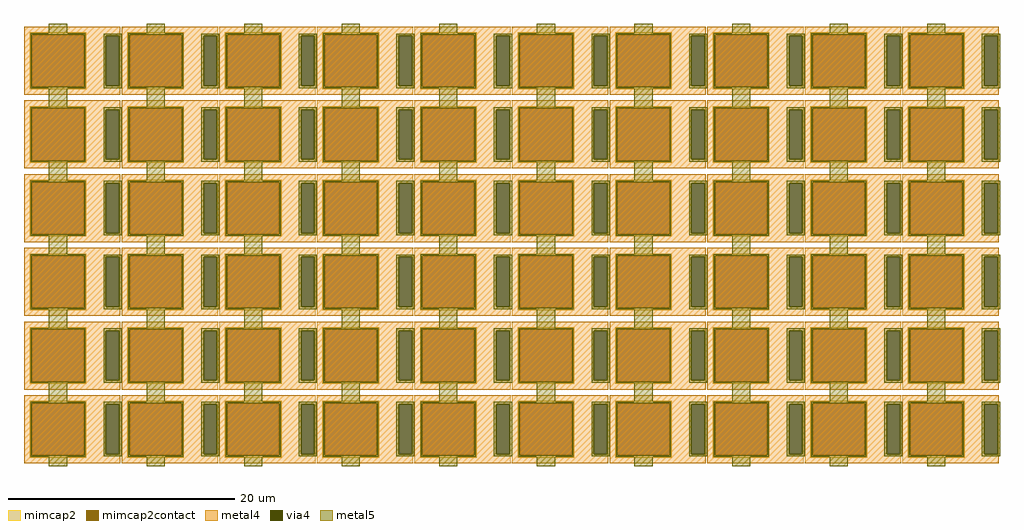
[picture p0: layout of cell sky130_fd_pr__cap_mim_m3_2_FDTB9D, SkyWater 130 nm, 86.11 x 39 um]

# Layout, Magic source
magic
tech sky130A
magscale 1 2
<< metal4 >>
rect -8600 3689 -6898 3850
rect -8600 2811 -7154 3689
rect -6918 2811 -6898 3689
rect -8600 2650 -6898 2811
rect -6878 3689 -5176 3850
rect -6878 2811 -5432 3689
rect -5196 2811 -5176 3689
rect -6878 2650 -5176 2811
rect -5156 3689 -3454 3850
rect -5156 2811 -3710 3689
rect -3474 2811 -3454 3689
rect -5156 2650 -3454 2811
rect -3434 3689 -1732 3850
rect -3434 2811 -1988 3689
rect -1752 2811 -1732 3689
rect -3434 2650 -1732 2811
rect -1712 3689 -10 3850
rect -1712 2811 -266 3689
rect -30 2811 -10 3689
rect -1712 2650 -10 2811
rect 10 3689 1712 3850
rect 10 2811 1456 3689
rect 1692 2811 1712 3689
rect 10 2650 1712 2811
rect 1732 3689 3434 3850
rect 1732 2811 3178 3689
rect 3414 2811 3434 3689
rect 1732 2650 3434 2811
rect 3454 3689 5156 3850
rect 3454 2811 4900 3689
rect 5136 2811 5156 3689
rect 3454 2650 5156 2811
rect 5176 3689 6878 3850
rect 5176 2811 6622 3689
rect 6858 2811 6878 3689
rect 5176 2650 6878 2811
rect 6898 3689 8600 3850
rect 6898 2811 8344 3689
rect 8580 2811 8600 3689
rect 6898 2650 8600 2811
rect -8600 2389 -6898 2550
rect -8600 1511 -7154 2389
rect -6918 1511 -6898 2389
rect -8600 1350 -6898 1511
rect -6878 2389 -5176 2550
rect -6878 1511 -5432 2389
rect -5196 1511 -5176 2389
rect -6878 1350 -5176 1511
rect -5156 2389 -3454 2550
rect -5156 1511 -3710 2389
rect -3474 1511 -3454 2389
rect -5156 1350 -3454 1511
rect -3434 2389 -1732 2550
rect -3434 1511 -1988 2389
rect -1752 1511 -1732 2389
rect -3434 1350 -1732 1511
rect -1712 2389 -10 2550
rect -1712 1511 -266 2389
rect -30 1511 -10 2389
rect -1712 1350 -10 1511
rect 10 2389 1712 2550
rect 10 1511 1456 2389
rect 1692 1511 1712 2389
rect 10 1350 1712 1511
rect 1732 2389 3434 2550
rect 1732 1511 3178 2389
rect 3414 1511 3434 2389
rect 1732 1350 3434 1511
rect 3454 2389 5156 2550
rect 3454 1511 4900 2389
rect 5136 1511 5156 2389
rect 3454 1350 5156 1511
rect 5176 2389 6878 2550
rect 5176 1511 6622 2389
rect 6858 1511 6878 2389
rect 5176 1350 6878 1511
rect 6898 2389 8600 2550
rect 6898 1511 8344 2389
rect 8580 1511 8600 2389
rect 6898 1350 8600 1511
rect -8600 1089 -6898 1250
rect -8600 211 -7154 1089
rect -6918 211 -6898 1089
rect -8600 50 -6898 211
rect -6878 1089 -5176 1250
rect -6878 211 -5432 1089
rect -5196 211 -5176 1089
rect -6878 50 -5176 211
rect -5156 1089 -3454 1250
rect -5156 211 -3710 1089
rect -3474 211 -3454 1089
rect -5156 50 -3454 211
rect -3434 1089 -1732 1250
rect -3434 211 -1988 1089
rect -1752 211 -1732 1089
rect -3434 50 -1732 211
rect -1712 1089 -10 1250
rect -1712 211 -266 1089
rect -30 211 -10 1089
rect -1712 50 -10 211
rect 10 1089 1712 1250
rect 10 211 1456 1089
rect 1692 211 1712 1089
rect 10 50 1712 211
rect 1732 1089 3434 1250
rect 1732 211 3178 1089
rect 3414 211 3434 1089
rect 1732 50 3434 211
rect 3454 1089 5156 1250
rect 3454 211 4900 1089
rect 5136 211 5156 1089
rect 3454 50 5156 211
rect 5176 1089 6878 1250
rect 5176 211 6622 1089
rect 6858 211 6878 1089
rect 5176 50 6878 211
rect 6898 1089 8600 1250
rect 6898 211 8344 1089
rect 8580 211 8600 1089
rect 6898 50 8600 211
rect -8600 -211 -6898 -50
rect -8600 -1089 -7154 -211
rect -6918 -1089 -6898 -211
rect -8600 -1250 -6898 -1089
rect -6878 -211 -5176 -50
rect -6878 -1089 -5432 -211
rect -5196 -1089 -5176 -211
rect -6878 -1250 -5176 -1089
rect -5156 -211 -3454 -50
rect -5156 -1089 -3710 -211
rect -3474 -1089 -3454 -211
rect -5156 -1250 -3454 -1089
rect -3434 -211 -1732 -50
rect -3434 -1089 -1988 -211
rect -1752 -1089 -1732 -211
rect -3434 -1250 -1732 -1089
rect -1712 -211 -10 -50
rect -1712 -1089 -266 -211
rect -30 -1089 -10 -211
rect -1712 -1250 -10 -1089
rect 10 -211 1712 -50
rect 10 -1089 1456 -211
rect 1692 -1089 1712 -211
rect 10 -1250 1712 -1089
rect 1732 -211 3434 -50
rect 1732 -1089 3178 -211
rect 3414 -1089 3434 -211
rect 1732 -1250 3434 -1089
rect 3454 -211 5156 -50
rect 3454 -1089 4900 -211
rect 5136 -1089 5156 -211
rect 3454 -1250 5156 -1089
rect 5176 -211 6878 -50
rect 5176 -1089 6622 -211
rect 6858 -1089 6878 -211
rect 5176 -1250 6878 -1089
rect 6898 -211 8600 -50
rect 6898 -1089 8344 -211
rect 8580 -1089 8600 -211
rect 6898 -1250 8600 -1089
rect -8600 -1511 -6898 -1350
rect -8600 -2389 -7154 -1511
rect -6918 -2389 -6898 -1511
rect -8600 -2550 -6898 -2389
rect -6878 -1511 -5176 -1350
rect -6878 -2389 -5432 -1511
rect -5196 -2389 -5176 -1511
rect -6878 -2550 -5176 -2389
rect -5156 -1511 -3454 -1350
rect -5156 -2389 -3710 -1511
rect -3474 -2389 -3454 -1511
rect -5156 -2550 -3454 -2389
rect -3434 -1511 -1732 -1350
rect -3434 -2389 -1988 -1511
rect -1752 -2389 -1732 -1511
rect -3434 -2550 -1732 -2389
rect -1712 -1511 -10 -1350
rect -1712 -2389 -266 -1511
rect -30 -2389 -10 -1511
rect -1712 -2550 -10 -2389
rect 10 -1511 1712 -1350
rect 10 -2389 1456 -1511
rect 1692 -2389 1712 -1511
rect 10 -2550 1712 -2389
rect 1732 -1511 3434 -1350
rect 1732 -2389 3178 -1511
rect 3414 -2389 3434 -1511
rect 1732 -2550 3434 -2389
rect 3454 -1511 5156 -1350
rect 3454 -2389 4900 -1511
rect 5136 -2389 5156 -1511
rect 3454 -2550 5156 -2389
rect 5176 -1511 6878 -1350
rect 5176 -2389 6622 -1511
rect 6858 -2389 6878 -1511
rect 5176 -2550 6878 -2389
rect 6898 -1511 8600 -1350
rect 6898 -2389 8344 -1511
rect 8580 -2389 8600 -1511
rect 6898 -2550 8600 -2389
rect -8600 -2811 -6898 -2650
rect -8600 -3689 -7154 -2811
rect -6918 -3689 -6898 -2811
rect -8600 -3850 -6898 -3689
rect -6878 -2811 -5176 -2650
rect -6878 -3689 -5432 -2811
rect -5196 -3689 -5176 -2811
rect -6878 -3850 -5176 -3689
rect -5156 -2811 -3454 -2650
rect -5156 -3689 -3710 -2811
rect -3474 -3689 -3454 -2811
rect -5156 -3850 -3454 -3689
rect -3434 -2811 -1732 -2650
rect -3434 -3689 -1988 -2811
rect -1752 -3689 -1732 -2811
rect -3434 -3850 -1732 -3689
rect -1712 -2811 -10 -2650
rect -1712 -3689 -266 -2811
rect -30 -3689 -10 -2811
rect -1712 -3850 -10 -3689
rect 10 -2811 1712 -2650
rect 10 -3689 1456 -2811
rect 1692 -3689 1712 -2811
rect 10 -3850 1712 -3689
rect 1732 -2811 3434 -2650
rect 1732 -3689 3178 -2811
rect 3414 -3689 3434 -2811
rect 1732 -3850 3434 -3689
rect 3454 -2811 5156 -2650
rect 3454 -3689 4900 -2811
rect 5136 -3689 5156 -2811
rect 3454 -3850 5156 -3689
rect 5176 -2811 6878 -2650
rect 5176 -3689 6622 -2811
rect 6858 -3689 6878 -2811
rect 5176 -3850 6878 -3689
rect 6898 -2811 8600 -2650
rect 6898 -3689 8344 -2811
rect 8580 -3689 8600 -2811
rect 6898 -3850 8600 -3689
<< via4 >>
rect -7154 2811 -6918 3689
rect -5432 2811 -5196 3689
rect -3710 2811 -3474 3689
rect -1988 2811 -1752 3689
rect -266 2811 -30 3689
rect 1456 2811 1692 3689
rect 3178 2811 3414 3689
rect 4900 2811 5136 3689
rect 6622 2811 6858 3689
rect 8344 2811 8580 3689
rect -7154 1511 -6918 2389
rect -5432 1511 -5196 2389
rect -3710 1511 -3474 2389
rect -1988 1511 -1752 2389
rect -266 1511 -30 2389
rect 1456 1511 1692 2389
rect 3178 1511 3414 2389
rect 4900 1511 5136 2389
rect 6622 1511 6858 2389
rect 8344 1511 8580 2389
rect -7154 211 -6918 1089
rect -5432 211 -5196 1089
rect -3710 211 -3474 1089
rect -1988 211 -1752 1089
rect -266 211 -30 1089
rect 1456 211 1692 1089
rect 3178 211 3414 1089
rect 4900 211 5136 1089
rect 6622 211 6858 1089
rect 8344 211 8580 1089
rect -7154 -1089 -6918 -211
rect -5432 -1089 -5196 -211
rect -3710 -1089 -3474 -211
rect -1988 -1089 -1752 -211
rect -266 -1089 -30 -211
rect 1456 -1089 1692 -211
rect 3178 -1089 3414 -211
rect 4900 -1089 5136 -211
rect 6622 -1089 6858 -211
rect 8344 -1089 8580 -211
rect -7154 -2389 -6918 -1511
rect -5432 -2389 -5196 -1511
rect -3710 -2389 -3474 -1511
rect -1988 -2389 -1752 -1511
rect -266 -2389 -30 -1511
rect 1456 -2389 1692 -1511
rect 3178 -2389 3414 -1511
rect 4900 -2389 5136 -1511
rect 6622 -2389 6858 -1511
rect 8344 -2389 8580 -1511
rect -7154 -3689 -6918 -2811
rect -5432 -3689 -5196 -2811
rect -3710 -3689 -3474 -2811
rect -1988 -3689 -1752 -2811
rect -266 -3689 -30 -2811
rect 1456 -3689 1692 -2811
rect 3178 -3689 3414 -2811
rect 4900 -3689 5136 -2811
rect 6622 -3689 6858 -2811
rect 8344 -3689 8580 -2811
<< mimcap2 >>
rect -8500 3710 -7500 3750
rect -8500 2790 -8460 3710
rect -7540 2790 -7500 3710
rect -8500 2750 -7500 2790
rect -6778 3710 -5778 3750
rect -6778 2790 -6738 3710
rect -5818 2790 -5778 3710
rect -6778 2750 -5778 2790
rect -5056 3710 -4056 3750
rect -5056 2790 -5016 3710
rect -4096 2790 -4056 3710
rect -5056 2750 -4056 2790
rect -3334 3710 -2334 3750
rect -3334 2790 -3294 3710
rect -2374 2790 -2334 3710
rect -3334 2750 -2334 2790
rect -1612 3710 -612 3750
rect -1612 2790 -1572 3710
rect -652 2790 -612 3710
rect -1612 2750 -612 2790
rect 110 3710 1110 3750
rect 110 2790 150 3710
rect 1070 2790 1110 3710
rect 110 2750 1110 2790
rect 1832 3710 2832 3750
rect 1832 2790 1872 3710
rect 2792 2790 2832 3710
rect 1832 2750 2832 2790
rect 3554 3710 4554 3750
rect 3554 2790 3594 3710
rect 4514 2790 4554 3710
rect 3554 2750 4554 2790
rect 5276 3710 6276 3750
rect 5276 2790 5316 3710
rect 6236 2790 6276 3710
rect 5276 2750 6276 2790
rect 6998 3710 7998 3750
rect 6998 2790 7038 3710
rect 7958 2790 7998 3710
rect 6998 2750 7998 2790
rect -8500 2410 -7500 2450
rect -8500 1490 -8460 2410
rect -7540 1490 -7500 2410
rect -8500 1450 -7500 1490
rect -6778 2410 -5778 2450
rect -6778 1490 -6738 2410
rect -5818 1490 -5778 2410
rect -6778 1450 -5778 1490
rect -5056 2410 -4056 2450
rect -5056 1490 -5016 2410
rect -4096 1490 -4056 2410
rect -5056 1450 -4056 1490
rect -3334 2410 -2334 2450
rect -3334 1490 -3294 2410
rect -2374 1490 -2334 2410
rect -3334 1450 -2334 1490
rect -1612 2410 -612 2450
rect -1612 1490 -1572 2410
rect -652 1490 -612 2410
rect -1612 1450 -612 1490
rect 110 2410 1110 2450
rect 110 1490 150 2410
rect 1070 1490 1110 2410
rect 110 1450 1110 1490
rect 1832 2410 2832 2450
rect 1832 1490 1872 2410
rect 2792 1490 2832 2410
rect 1832 1450 2832 1490
rect 3554 2410 4554 2450
rect 3554 1490 3594 2410
rect 4514 1490 4554 2410
rect 3554 1450 4554 1490
rect 5276 2410 6276 2450
rect 5276 1490 5316 2410
rect 6236 1490 6276 2410
rect 5276 1450 6276 1490
rect 6998 2410 7998 2450
rect 6998 1490 7038 2410
rect 7958 1490 7998 2410
rect 6998 1450 7998 1490
rect -8500 1110 -7500 1150
rect -8500 190 -8460 1110
rect -7540 190 -7500 1110
rect -8500 150 -7500 190
rect -6778 1110 -5778 1150
rect -6778 190 -6738 1110
rect -5818 190 -5778 1110
rect -6778 150 -5778 190
rect -5056 1110 -4056 1150
rect -5056 190 -5016 1110
rect -4096 190 -4056 1110
rect -5056 150 -4056 190
rect -3334 1110 -2334 1150
rect -3334 190 -3294 1110
rect -2374 190 -2334 1110
rect -3334 150 -2334 190
rect -1612 1110 -612 1150
rect -1612 190 -1572 1110
rect -652 190 -612 1110
rect -1612 150 -612 190
rect 110 1110 1110 1150
rect 110 190 150 1110
rect 1070 190 1110 1110
rect 110 150 1110 190
rect 1832 1110 2832 1150
rect 1832 190 1872 1110
rect 2792 190 2832 1110
rect 1832 150 2832 190
rect 3554 1110 4554 1150
rect 3554 190 3594 1110
rect 4514 190 4554 1110
rect 3554 150 4554 190
rect 5276 1110 6276 1150
rect 5276 190 5316 1110
rect 6236 190 6276 1110
rect 5276 150 6276 190
rect 6998 1110 7998 1150
rect 6998 190 7038 1110
rect 7958 190 7998 1110
rect 6998 150 7998 190
rect -8500 -190 -7500 -150
rect -8500 -1110 -8460 -190
rect -7540 -1110 -7500 -190
rect -8500 -1150 -7500 -1110
rect -6778 -190 -5778 -150
rect -6778 -1110 -6738 -190
rect -5818 -1110 -5778 -190
rect -6778 -1150 -5778 -1110
rect -5056 -190 -4056 -150
rect -5056 -1110 -5016 -190
rect -4096 -1110 -4056 -190
rect -5056 -1150 -4056 -1110
rect -3334 -190 -2334 -150
rect -3334 -1110 -3294 -190
rect -2374 -1110 -2334 -190
rect -3334 -1150 -2334 -1110
rect -1612 -190 -612 -150
rect -1612 -1110 -1572 -190
rect -652 -1110 -612 -190
rect -1612 -1150 -612 -1110
rect 110 -190 1110 -150
rect 110 -1110 150 -190
rect 1070 -1110 1110 -190
rect 110 -1150 1110 -1110
rect 1832 -190 2832 -150
rect 1832 -1110 1872 -190
rect 2792 -1110 2832 -190
rect 1832 -1150 2832 -1110
rect 3554 -190 4554 -150
rect 3554 -1110 3594 -190
rect 4514 -1110 4554 -190
rect 3554 -1150 4554 -1110
rect 5276 -190 6276 -150
rect 5276 -1110 5316 -190
rect 6236 -1110 6276 -190
rect 5276 -1150 6276 -1110
rect 6998 -190 7998 -150
rect 6998 -1110 7038 -190
rect 7958 -1110 7998 -190
rect 6998 -1150 7998 -1110
rect -8500 -1490 -7500 -1450
rect -8500 -2410 -8460 -1490
rect -7540 -2410 -7500 -1490
rect -8500 -2450 -7500 -2410
rect -6778 -1490 -5778 -1450
rect -6778 -2410 -6738 -1490
rect -5818 -2410 -5778 -1490
rect -6778 -2450 -5778 -2410
rect -5056 -1490 -4056 -1450
rect -5056 -2410 -5016 -1490
rect -4096 -2410 -4056 -1490
rect -5056 -2450 -4056 -2410
rect -3334 -1490 -2334 -1450
rect -3334 -2410 -3294 -1490
rect -2374 -2410 -2334 -1490
rect -3334 -2450 -2334 -2410
rect -1612 -1490 -612 -1450
rect -1612 -2410 -1572 -1490
rect -652 -2410 -612 -1490
rect -1612 -2450 -612 -2410
rect 110 -1490 1110 -1450
rect 110 -2410 150 -1490
rect 1070 -2410 1110 -1490
rect 110 -2450 1110 -2410
rect 1832 -1490 2832 -1450
rect 1832 -2410 1872 -1490
rect 2792 -2410 2832 -1490
rect 1832 -2450 2832 -2410
rect 3554 -1490 4554 -1450
rect 3554 -2410 3594 -1490
rect 4514 -2410 4554 -1490
rect 3554 -2450 4554 -2410
rect 5276 -1490 6276 -1450
rect 5276 -2410 5316 -1490
rect 6236 -2410 6276 -1490
rect 5276 -2450 6276 -2410
rect 6998 -1490 7998 -1450
rect 6998 -2410 7038 -1490
rect 7958 -2410 7998 -1490
rect 6998 -2450 7998 -2410
rect -8500 -2790 -7500 -2750
rect -8500 -3710 -8460 -2790
rect -7540 -3710 -7500 -2790
rect -8500 -3750 -7500 -3710
rect -6778 -2790 -5778 -2750
rect -6778 -3710 -6738 -2790
rect -5818 -3710 -5778 -2790
rect -6778 -3750 -5778 -3710
rect -5056 -2790 -4056 -2750
rect -5056 -3710 -5016 -2790
rect -4096 -3710 -4056 -2790
rect -5056 -3750 -4056 -3710
rect -3334 -2790 -2334 -2750
rect -3334 -3710 -3294 -2790
rect -2374 -3710 -2334 -2790
rect -3334 -3750 -2334 -3710
rect -1612 -2790 -612 -2750
rect -1612 -3710 -1572 -2790
rect -652 -3710 -612 -2790
rect -1612 -3750 -612 -3710
rect 110 -2790 1110 -2750
rect 110 -3710 150 -2790
rect 1070 -3710 1110 -2790
rect 110 -3750 1110 -3710
rect 1832 -2790 2832 -2750
rect 1832 -3710 1872 -2790
rect 2792 -3710 2832 -2790
rect 1832 -3750 2832 -3710
rect 3554 -2790 4554 -2750
rect 3554 -3710 3594 -2790
rect 4514 -3710 4554 -2790
rect 3554 -3750 4554 -3710
rect 5276 -2790 6276 -2750
rect 5276 -3710 5316 -2790
rect 6236 -3710 6276 -2790
rect 5276 -3750 6276 -3710
rect 6998 -2790 7998 -2750
rect 6998 -3710 7038 -2790
rect 7958 -3710 7998 -2790
rect 6998 -3750 7998 -3710
<< mimcap2contact >>
rect -8460 2790 -7540 3710
rect -6738 2790 -5818 3710
rect -5016 2790 -4096 3710
rect -3294 2790 -2374 3710
rect -1572 2790 -652 3710
rect 150 2790 1070 3710
rect 1872 2790 2792 3710
rect 3594 2790 4514 3710
rect 5316 2790 6236 3710
rect 7038 2790 7958 3710
rect -8460 1490 -7540 2410
rect -6738 1490 -5818 2410
rect -5016 1490 -4096 2410
rect -3294 1490 -2374 2410
rect -1572 1490 -652 2410
rect 150 1490 1070 2410
rect 1872 1490 2792 2410
rect 3594 1490 4514 2410
rect 5316 1490 6236 2410
rect 7038 1490 7958 2410
rect -8460 190 -7540 1110
rect -6738 190 -5818 1110
rect -5016 190 -4096 1110
rect -3294 190 -2374 1110
rect -1572 190 -652 1110
rect 150 190 1070 1110
rect 1872 190 2792 1110
rect 3594 190 4514 1110
rect 5316 190 6236 1110
rect 7038 190 7958 1110
rect -8460 -1110 -7540 -190
rect -6738 -1110 -5818 -190
rect -5016 -1110 -4096 -190
rect -3294 -1110 -2374 -190
rect -1572 -1110 -652 -190
rect 150 -1110 1070 -190
rect 1872 -1110 2792 -190
rect 3594 -1110 4514 -190
rect 5316 -1110 6236 -190
rect 7038 -1110 7958 -190
rect -8460 -2410 -7540 -1490
rect -6738 -2410 -5818 -1490
rect -5016 -2410 -4096 -1490
rect -3294 -2410 -2374 -1490
rect -1572 -2410 -652 -1490
rect 150 -2410 1070 -1490
rect 1872 -2410 2792 -1490
rect 3594 -2410 4514 -1490
rect 5316 -2410 6236 -1490
rect 7038 -2410 7958 -1490
rect -8460 -3710 -7540 -2790
rect -6738 -3710 -5818 -2790
rect -5016 -3710 -4096 -2790
rect -3294 -3710 -2374 -2790
rect -1572 -3710 -652 -2790
rect 150 -3710 1070 -2790
rect 1872 -3710 2792 -2790
rect 3594 -3710 4514 -2790
rect 5316 -3710 6236 -2790
rect 7038 -3710 7958 -2790
<< metal5 >>
rect -8160 3734 -7840 3900
rect -6438 3734 -6118 3900
rect -4716 3734 -4396 3900
rect -2994 3734 -2674 3900
rect -1272 3734 -952 3900
rect 450 3734 770 3900
rect 2172 3734 2492 3900
rect 3894 3734 4214 3900
rect 5616 3734 5936 3900
rect 7338 3734 7658 3900
rect -8484 3710 -7516 3734
rect -8484 2790 -8460 3710
rect -7540 2790 -7516 3710
rect -8484 2766 -7516 2790
rect -7196 3689 -6876 3731
rect -7196 2811 -7154 3689
rect -6918 2811 -6876 3689
rect -7196 2769 -6876 2811
rect -6762 3710 -5794 3734
rect -6762 2790 -6738 3710
rect -5818 2790 -5794 3710
rect -6762 2766 -5794 2790
rect -5474 3689 -5154 3731
rect -5474 2811 -5432 3689
rect -5196 2811 -5154 3689
rect -5474 2769 -5154 2811
rect -5040 3710 -4072 3734
rect -5040 2790 -5016 3710
rect -4096 2790 -4072 3710
rect -5040 2766 -4072 2790
rect -3752 3689 -3432 3731
rect -3752 2811 -3710 3689
rect -3474 2811 -3432 3689
rect -3752 2769 -3432 2811
rect -3318 3710 -2350 3734
rect -3318 2790 -3294 3710
rect -2374 2790 -2350 3710
rect -3318 2766 -2350 2790
rect -2030 3689 -1710 3731
rect -2030 2811 -1988 3689
rect -1752 2811 -1710 3689
rect -2030 2769 -1710 2811
rect -1596 3710 -628 3734
rect -1596 2790 -1572 3710
rect -652 2790 -628 3710
rect -1596 2766 -628 2790
rect -308 3689 12 3731
rect -308 2811 -266 3689
rect -30 2811 12 3689
rect -308 2769 12 2811
rect 126 3710 1094 3734
rect 126 2790 150 3710
rect 1070 2790 1094 3710
rect 126 2766 1094 2790
rect 1414 3689 1734 3731
rect 1414 2811 1456 3689
rect 1692 2811 1734 3689
rect 1414 2769 1734 2811
rect 1848 3710 2816 3734
rect 1848 2790 1872 3710
rect 2792 2790 2816 3710
rect 1848 2766 2816 2790
rect 3136 3689 3456 3731
rect 3136 2811 3178 3689
rect 3414 2811 3456 3689
rect 3136 2769 3456 2811
rect 3570 3710 4538 3734
rect 3570 2790 3594 3710
rect 4514 2790 4538 3710
rect 3570 2766 4538 2790
rect 4858 3689 5178 3731
rect 4858 2811 4900 3689
rect 5136 2811 5178 3689
rect 4858 2769 5178 2811
rect 5292 3710 6260 3734
rect 5292 2790 5316 3710
rect 6236 2790 6260 3710
rect 5292 2766 6260 2790
rect 6580 3689 6900 3731
rect 6580 2811 6622 3689
rect 6858 2811 6900 3689
rect 6580 2769 6900 2811
rect 7014 3710 7982 3734
rect 7014 2790 7038 3710
rect 7958 2790 7982 3710
rect 7014 2766 7982 2790
rect 8302 3689 8622 3731
rect 8302 2811 8344 3689
rect 8580 2811 8622 3689
rect 8302 2769 8622 2811
rect -8160 2434 -7840 2766
rect -6438 2434 -6118 2766
rect -4716 2434 -4396 2766
rect -2994 2434 -2674 2766
rect -1272 2434 -952 2766
rect 450 2434 770 2766
rect 2172 2434 2492 2766
rect 3894 2434 4214 2766
rect 5616 2434 5936 2766
rect 7338 2434 7658 2766
rect -8484 2410 -7516 2434
rect -8484 1490 -8460 2410
rect -7540 1490 -7516 2410
rect -8484 1466 -7516 1490
rect -7196 2389 -6876 2431
rect -7196 1511 -7154 2389
rect -6918 1511 -6876 2389
rect -7196 1469 -6876 1511
rect -6762 2410 -5794 2434
rect -6762 1490 -6738 2410
rect -5818 1490 -5794 2410
rect -6762 1466 -5794 1490
rect -5474 2389 -5154 2431
rect -5474 1511 -5432 2389
rect -5196 1511 -5154 2389
rect -5474 1469 -5154 1511
rect -5040 2410 -4072 2434
rect -5040 1490 -5016 2410
rect -4096 1490 -4072 2410
rect -5040 1466 -4072 1490
rect -3752 2389 -3432 2431
rect -3752 1511 -3710 2389
rect -3474 1511 -3432 2389
rect -3752 1469 -3432 1511
rect -3318 2410 -2350 2434
rect -3318 1490 -3294 2410
rect -2374 1490 -2350 2410
rect -3318 1466 -2350 1490
rect -2030 2389 -1710 2431
rect -2030 1511 -1988 2389
rect -1752 1511 -1710 2389
rect -2030 1469 -1710 1511
rect -1596 2410 -628 2434
rect -1596 1490 -1572 2410
rect -652 1490 -628 2410
rect -1596 1466 -628 1490
rect -308 2389 12 2431
rect -308 1511 -266 2389
rect -30 1511 12 2389
rect -308 1469 12 1511
rect 126 2410 1094 2434
rect 126 1490 150 2410
rect 1070 1490 1094 2410
rect 126 1466 1094 1490
rect 1414 2389 1734 2431
rect 1414 1511 1456 2389
rect 1692 1511 1734 2389
rect 1414 1469 1734 1511
rect 1848 2410 2816 2434
rect 1848 1490 1872 2410
rect 2792 1490 2816 2410
rect 1848 1466 2816 1490
rect 3136 2389 3456 2431
rect 3136 1511 3178 2389
rect 3414 1511 3456 2389
rect 3136 1469 3456 1511
rect 3570 2410 4538 2434
rect 3570 1490 3594 2410
rect 4514 1490 4538 2410
rect 3570 1466 4538 1490
rect 4858 2389 5178 2431
rect 4858 1511 4900 2389
rect 5136 1511 5178 2389
rect 4858 1469 5178 1511
rect 5292 2410 6260 2434
rect 5292 1490 5316 2410
rect 6236 1490 6260 2410
rect 5292 1466 6260 1490
rect 6580 2389 6900 2431
rect 6580 1511 6622 2389
rect 6858 1511 6900 2389
rect 6580 1469 6900 1511
rect 7014 2410 7982 2434
rect 7014 1490 7038 2410
rect 7958 1490 7982 2410
rect 7014 1466 7982 1490
rect 8302 2389 8622 2431
rect 8302 1511 8344 2389
rect 8580 1511 8622 2389
rect 8302 1469 8622 1511
rect -8160 1134 -7840 1466
rect -6438 1134 -6118 1466
rect -4716 1134 -4396 1466
rect -2994 1134 -2674 1466
rect -1272 1134 -952 1466
rect 450 1134 770 1466
rect 2172 1134 2492 1466
rect 3894 1134 4214 1466
rect 5616 1134 5936 1466
rect 7338 1134 7658 1466
rect -8484 1110 -7516 1134
rect -8484 190 -8460 1110
rect -7540 190 -7516 1110
rect -8484 166 -7516 190
rect -7196 1089 -6876 1131
rect -7196 211 -7154 1089
rect -6918 211 -6876 1089
rect -7196 169 -6876 211
rect -6762 1110 -5794 1134
rect -6762 190 -6738 1110
rect -5818 190 -5794 1110
rect -6762 166 -5794 190
rect -5474 1089 -5154 1131
rect -5474 211 -5432 1089
rect -5196 211 -5154 1089
rect -5474 169 -5154 211
rect -5040 1110 -4072 1134
rect -5040 190 -5016 1110
rect -4096 190 -4072 1110
rect -5040 166 -4072 190
rect -3752 1089 -3432 1131
rect -3752 211 -3710 1089
rect -3474 211 -3432 1089
rect -3752 169 -3432 211
rect -3318 1110 -2350 1134
rect -3318 190 -3294 1110
rect -2374 190 -2350 1110
rect -3318 166 -2350 190
rect -2030 1089 -1710 1131
rect -2030 211 -1988 1089
rect -1752 211 -1710 1089
rect -2030 169 -1710 211
rect -1596 1110 -628 1134
rect -1596 190 -1572 1110
rect -652 190 -628 1110
rect -1596 166 -628 190
rect -308 1089 12 1131
rect -308 211 -266 1089
rect -30 211 12 1089
rect -308 169 12 211
rect 126 1110 1094 1134
rect 126 190 150 1110
rect 1070 190 1094 1110
rect 126 166 1094 190
rect 1414 1089 1734 1131
rect 1414 211 1456 1089
rect 1692 211 1734 1089
rect 1414 169 1734 211
rect 1848 1110 2816 1134
rect 1848 190 1872 1110
rect 2792 190 2816 1110
rect 1848 166 2816 190
rect 3136 1089 3456 1131
rect 3136 211 3178 1089
rect 3414 211 3456 1089
rect 3136 169 3456 211
rect 3570 1110 4538 1134
rect 3570 190 3594 1110
rect 4514 190 4538 1110
rect 3570 166 4538 190
rect 4858 1089 5178 1131
rect 4858 211 4900 1089
rect 5136 211 5178 1089
rect 4858 169 5178 211
rect 5292 1110 6260 1134
rect 5292 190 5316 1110
rect 6236 190 6260 1110
rect 5292 166 6260 190
rect 6580 1089 6900 1131
rect 6580 211 6622 1089
rect 6858 211 6900 1089
rect 6580 169 6900 211
rect 7014 1110 7982 1134
rect 7014 190 7038 1110
rect 7958 190 7982 1110
rect 7014 166 7982 190
rect 8302 1089 8622 1131
rect 8302 211 8344 1089
rect 8580 211 8622 1089
rect 8302 169 8622 211
rect -8160 -166 -7840 166
rect -6438 -166 -6118 166
rect -4716 -166 -4396 166
rect -2994 -166 -2674 166
rect -1272 -166 -952 166
rect 450 -166 770 166
rect 2172 -166 2492 166
rect 3894 -166 4214 166
rect 5616 -166 5936 166
rect 7338 -166 7658 166
rect -8484 -190 -7516 -166
rect -8484 -1110 -8460 -190
rect -7540 -1110 -7516 -190
rect -8484 -1134 -7516 -1110
rect -7196 -211 -6876 -169
rect -7196 -1089 -7154 -211
rect -6918 -1089 -6876 -211
rect -7196 -1131 -6876 -1089
rect -6762 -190 -5794 -166
rect -6762 -1110 -6738 -190
rect -5818 -1110 -5794 -190
rect -6762 -1134 -5794 -1110
rect -5474 -211 -5154 -169
rect -5474 -1089 -5432 -211
rect -5196 -1089 -5154 -211
rect -5474 -1131 -5154 -1089
rect -5040 -190 -4072 -166
rect -5040 -1110 -5016 -190
rect -4096 -1110 -4072 -190
rect -5040 -1134 -4072 -1110
rect -3752 -211 -3432 -169
rect -3752 -1089 -3710 -211
rect -3474 -1089 -3432 -211
rect -3752 -1131 -3432 -1089
rect -3318 -190 -2350 -166
rect -3318 -1110 -3294 -190
rect -2374 -1110 -2350 -190
rect -3318 -1134 -2350 -1110
rect -2030 -211 -1710 -169
rect -2030 -1089 -1988 -211
rect -1752 -1089 -1710 -211
rect -2030 -1131 -1710 -1089
rect -1596 -190 -628 -166
rect -1596 -1110 -1572 -190
rect -652 -1110 -628 -190
rect -1596 -1134 -628 -1110
rect -308 -211 12 -169
rect -308 -1089 -266 -211
rect -30 -1089 12 -211
rect -308 -1131 12 -1089
rect 126 -190 1094 -166
rect 126 -1110 150 -190
rect 1070 -1110 1094 -190
rect 126 -1134 1094 -1110
rect 1414 -211 1734 -169
rect 1414 -1089 1456 -211
rect 1692 -1089 1734 -211
rect 1414 -1131 1734 -1089
rect 1848 -190 2816 -166
rect 1848 -1110 1872 -190
rect 2792 -1110 2816 -190
rect 1848 -1134 2816 -1110
rect 3136 -211 3456 -169
rect 3136 -1089 3178 -211
rect 3414 -1089 3456 -211
rect 3136 -1131 3456 -1089
rect 3570 -190 4538 -166
rect 3570 -1110 3594 -190
rect 4514 -1110 4538 -190
rect 3570 -1134 4538 -1110
rect 4858 -211 5178 -169
rect 4858 -1089 4900 -211
rect 5136 -1089 5178 -211
rect 4858 -1131 5178 -1089
rect 5292 -190 6260 -166
rect 5292 -1110 5316 -190
rect 6236 -1110 6260 -190
rect 5292 -1134 6260 -1110
rect 6580 -211 6900 -169
rect 6580 -1089 6622 -211
rect 6858 -1089 6900 -211
rect 6580 -1131 6900 -1089
rect 7014 -190 7982 -166
rect 7014 -1110 7038 -190
rect 7958 -1110 7982 -190
rect 7014 -1134 7982 -1110
rect 8302 -211 8622 -169
rect 8302 -1089 8344 -211
rect 8580 -1089 8622 -211
rect 8302 -1131 8622 -1089
rect -8160 -1466 -7840 -1134
rect -6438 -1466 -6118 -1134
rect -4716 -1466 -4396 -1134
rect -2994 -1466 -2674 -1134
rect -1272 -1466 -952 -1134
rect 450 -1466 770 -1134
rect 2172 -1466 2492 -1134
rect 3894 -1466 4214 -1134
rect 5616 -1466 5936 -1134
rect 7338 -1466 7658 -1134
rect -8484 -1490 -7516 -1466
rect -8484 -2410 -8460 -1490
rect -7540 -2410 -7516 -1490
rect -8484 -2434 -7516 -2410
rect -7196 -1511 -6876 -1469
rect -7196 -2389 -7154 -1511
rect -6918 -2389 -6876 -1511
rect -7196 -2431 -6876 -2389
rect -6762 -1490 -5794 -1466
rect -6762 -2410 -6738 -1490
rect -5818 -2410 -5794 -1490
rect -6762 -2434 -5794 -2410
rect -5474 -1511 -5154 -1469
rect -5474 -2389 -5432 -1511
rect -5196 -2389 -5154 -1511
rect -5474 -2431 -5154 -2389
rect -5040 -1490 -4072 -1466
rect -5040 -2410 -5016 -1490
rect -4096 -2410 -4072 -1490
rect -5040 -2434 -4072 -2410
rect -3752 -1511 -3432 -1469
rect -3752 -2389 -3710 -1511
rect -3474 -2389 -3432 -1511
rect -3752 -2431 -3432 -2389
rect -3318 -1490 -2350 -1466
rect -3318 -2410 -3294 -1490
rect -2374 -2410 -2350 -1490
rect -3318 -2434 -2350 -2410
rect -2030 -1511 -1710 -1469
rect -2030 -2389 -1988 -1511
rect -1752 -2389 -1710 -1511
rect -2030 -2431 -1710 -2389
rect -1596 -1490 -628 -1466
rect -1596 -2410 -1572 -1490
rect -652 -2410 -628 -1490
rect -1596 -2434 -628 -2410
rect -308 -1511 12 -1469
rect -308 -2389 -266 -1511
rect -30 -2389 12 -1511
rect -308 -2431 12 -2389
rect 126 -1490 1094 -1466
rect 126 -2410 150 -1490
rect 1070 -2410 1094 -1490
rect 126 -2434 1094 -2410
rect 1414 -1511 1734 -1469
rect 1414 -2389 1456 -1511
rect 1692 -2389 1734 -1511
rect 1414 -2431 1734 -2389
rect 1848 -1490 2816 -1466
rect 1848 -2410 1872 -1490
rect 2792 -2410 2816 -1490
rect 1848 -2434 2816 -2410
rect 3136 -1511 3456 -1469
rect 3136 -2389 3178 -1511
rect 3414 -2389 3456 -1511
rect 3136 -2431 3456 -2389
rect 3570 -1490 4538 -1466
rect 3570 -2410 3594 -1490
rect 4514 -2410 4538 -1490
rect 3570 -2434 4538 -2410
rect 4858 -1511 5178 -1469
rect 4858 -2389 4900 -1511
rect 5136 -2389 5178 -1511
rect 4858 -2431 5178 -2389
rect 5292 -1490 6260 -1466
rect 5292 -2410 5316 -1490
rect 6236 -2410 6260 -1490
rect 5292 -2434 6260 -2410
rect 6580 -1511 6900 -1469
rect 6580 -2389 6622 -1511
rect 6858 -2389 6900 -1511
rect 6580 -2431 6900 -2389
rect 7014 -1490 7982 -1466
rect 7014 -2410 7038 -1490
rect 7958 -2410 7982 -1490
rect 7014 -2434 7982 -2410
rect 8302 -1511 8622 -1469
rect 8302 -2389 8344 -1511
rect 8580 -2389 8622 -1511
rect 8302 -2431 8622 -2389
rect -8160 -2766 -7840 -2434
rect -6438 -2766 -6118 -2434
rect -4716 -2766 -4396 -2434
rect -2994 -2766 -2674 -2434
rect -1272 -2766 -952 -2434
rect 450 -2766 770 -2434
rect 2172 -2766 2492 -2434
rect 3894 -2766 4214 -2434
rect 5616 -2766 5936 -2434
rect 7338 -2766 7658 -2434
rect -8484 -2790 -7516 -2766
rect -8484 -3710 -8460 -2790
rect -7540 -3710 -7516 -2790
rect -8484 -3734 -7516 -3710
rect -7196 -2811 -6876 -2769
rect -7196 -3689 -7154 -2811
rect -6918 -3689 -6876 -2811
rect -7196 -3731 -6876 -3689
rect -6762 -2790 -5794 -2766
rect -6762 -3710 -6738 -2790
rect -5818 -3710 -5794 -2790
rect -6762 -3734 -5794 -3710
rect -5474 -2811 -5154 -2769
rect -5474 -3689 -5432 -2811
rect -5196 -3689 -5154 -2811
rect -5474 -3731 -5154 -3689
rect -5040 -2790 -4072 -2766
rect -5040 -3710 -5016 -2790
rect -4096 -3710 -4072 -2790
rect -5040 -3734 -4072 -3710
rect -3752 -2811 -3432 -2769
rect -3752 -3689 -3710 -2811
rect -3474 -3689 -3432 -2811
rect -3752 -3731 -3432 -3689
rect -3318 -2790 -2350 -2766
rect -3318 -3710 -3294 -2790
rect -2374 -3710 -2350 -2790
rect -3318 -3734 -2350 -3710
rect -2030 -2811 -1710 -2769
rect -2030 -3689 -1988 -2811
rect -1752 -3689 -1710 -2811
rect -2030 -3731 -1710 -3689
rect -1596 -2790 -628 -2766
rect -1596 -3710 -1572 -2790
rect -652 -3710 -628 -2790
rect -1596 -3734 -628 -3710
rect -308 -2811 12 -2769
rect -308 -3689 -266 -2811
rect -30 -3689 12 -2811
rect -308 -3731 12 -3689
rect 126 -2790 1094 -2766
rect 126 -3710 150 -2790
rect 1070 -3710 1094 -2790
rect 126 -3734 1094 -3710
rect 1414 -2811 1734 -2769
rect 1414 -3689 1456 -2811
rect 1692 -3689 1734 -2811
rect 1414 -3731 1734 -3689
rect 1848 -2790 2816 -2766
rect 1848 -3710 1872 -2790
rect 2792 -3710 2816 -2790
rect 1848 -3734 2816 -3710
rect 3136 -2811 3456 -2769
rect 3136 -3689 3178 -2811
rect 3414 -3689 3456 -2811
rect 3136 -3731 3456 -3689
rect 3570 -2790 4538 -2766
rect 3570 -3710 3594 -2790
rect 4514 -3710 4538 -2790
rect 3570 -3734 4538 -3710
rect 4858 -2811 5178 -2769
rect 4858 -3689 4900 -2811
rect 5136 -3689 5178 -2811
rect 4858 -3731 5178 -3689
rect 5292 -2790 6260 -2766
rect 5292 -3710 5316 -2790
rect 6236 -3710 6260 -2790
rect 5292 -3734 6260 -3710
rect 6580 -2811 6900 -2769
rect 6580 -3689 6622 -2811
rect 6858 -3689 6900 -2811
rect 6580 -3731 6900 -3689
rect 7014 -2790 7982 -2766
rect 7014 -3710 7038 -2790
rect 7958 -3710 7982 -2790
rect 7014 -3734 7982 -3710
rect 8302 -2811 8622 -2769
rect 8302 -3689 8344 -2811
rect 8580 -3689 8622 -2811
rect 8302 -3731 8622 -3689
rect -8160 -3900 -7840 -3734
rect -6438 -3900 -6118 -3734
rect -4716 -3900 -4396 -3734
rect -2994 -3900 -2674 -3734
rect -1272 -3900 -952 -3734
rect 450 -3900 770 -3734
rect 2172 -3900 2492 -3734
rect 3894 -3900 4214 -3734
rect 5616 -3900 5936 -3734
rect 7338 -3900 7658 -3734
<< properties >>
string FIXED_BBOX 6898 2650 8098 3850
string gencell sky130_fd_pr__cap_mim_m3_2
string library sky130
string parameters w 5.0 l 5.0 val 53.8 carea 2.00 cperi 0.19 nx 10 ny 6 dummy 0 square 0 lmin 2.00 wmin 2.00 lmax 30.0 wmax 30.0 dc 0 bconnect 0 tconnect 1 ccov 100
<< end >>
